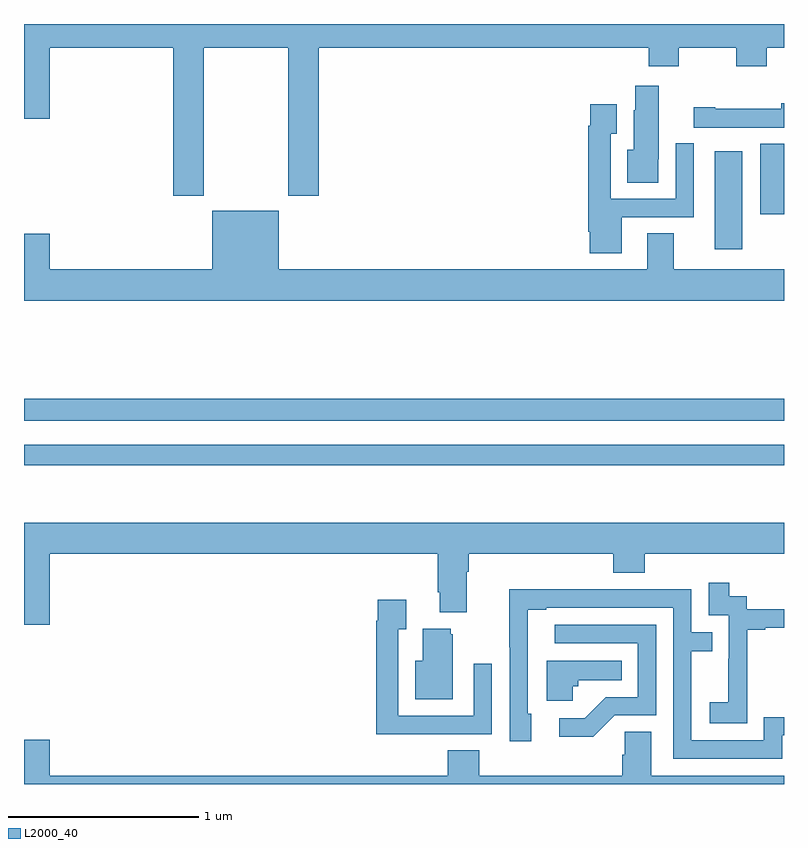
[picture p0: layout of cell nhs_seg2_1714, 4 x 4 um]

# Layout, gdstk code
import gdstk
lib = gdstk.Library(unit=1e-6, precision=1e-09)
def R(c, l, rs):  # rectangles x0, y0, x1, y1
    for r in rs: c.add(gdstk.rectangle(r[:2], r[2:], *l))
def P(c, l, *ps):  # polygons
    for p in ps: c.add(gdstk.Polygon(p, *l))
L2000_40 = (2000, 40)

nhs_seg2_1714 = lib.new_cell('nhs_seg2_1714')
R(nhs_seg2_1714, L2000_40, [(201,605.478,205,605.586), (201,605.712,205,605.828), (204.635,606.614,204.781,607.129), (204.875,606.798,205,607.169)])
P(nhs_seg2_1714, L2000_40, [(201.945,607.676),(202.39,607.676),(202.39,606.897),(202.55,606.897),(202.55,607.676),(204.287,607.676),(204.287,607.577),(204.447,607.577),(204.447,607.676),(204.748,607.676),(204.748,607.577),(204.908,607.577),(204.908,607.676),(205,607.676),(205,607.8),(201,607.8),(201,607.302),(201.136,607.302),(201.136,607.676),(201.785,607.676),(201.785,606.897),(201.945,606.897)],
  [(204.337,607.089),(204.34,607.089),(204.34,607.474),(204.218,607.474),(204.218,607.347),(204.209,607.347),(204.209,607.138),(204.176,607.138),(204.176,606.964),(204.337,606.964)],
  [(205,607.383),(204.986,607.383),(204.986,607.353),(204.637,607.353),(204.637,607.363),(204.525,607.363),(204.525,607.254),(205,607.254)],
  [(204.145,606.783),(204.525,606.783),(204.525,607.173),(204.429,607.173),(204.429,606.879),(204.087,606.879),(204.087,607.222),(204.121,607.222),(204.121,607.378),(203.979,607.378),(203.979,607.265),(203.971,607.265),(203.971,606.706),(203.978,606.706),(203.978,606.594),(204.145,606.594)],
  [(205,606.508),(204.421,606.508),(204.421,606.698),(204.281,606.698),(204.281,606.508),(202.342,606.508),(202.342,606.817),(201.992,606.817),(201.992,606.508),(201.136,606.508),(201.136,606.697),(201,606.697),(201,606.344),(205,606.344)],
  [(201,604.638),(201.136,604.638),(201.136,605.012),(203.177,605.012),(203.177,604.81),(203.189,604.81),(203.189,604.703),(203.329,604.703),(203.329,604.916),(203.342,604.916),(203.342,605.012),(204.101,605.012),(204.101,604.913),(204.266,604.913),(204.266,605.012),(205,605.012),(205,605.176),(201,605.176)],
  [(204.807,604.327),(204.806,604.327),(204.806,604.611),(204.901,604.611),(204.901,604.623),(205,604.623),(205,604.719),(204.804,604.719),(204.804,604.788),(204.712,604.788),(204.712,604.858),(204.603,604.858),(204.603,604.689),(204.708,604.689),(204.708,604.46),(204.707,604.46),(204.707,604.231),(204.609,604.231),(204.609,604.121),(204.807,604.121)],
  [(204.991,604.056),(205,604.056),(205,604.152),(204.894,604.152),(204.894,604.029),(204.513,604.029),(204.513,604.498),(204.623,604.498),(204.623,604.599),(204.513,604.599),(204.513,604.824),(204.017,604.824),(204.017,604.826),(203.554,604.826),(203.554,604.519),(203.556,604.519),(203.556,604.026),(203.671,604.026),(203.671,604.17),(203.652,604.17),(203.652,604.716),(203.749,604.716),(203.749,604.728),(204.417,604.728),(204.417,603.933),(204.991,603.933)],
  [(203.147,604.062),(203.463,604.062),(203.463,604.432),(203.367,604.432),(203.367,604.158),(202.971,604.158),(202.971,604.615),(203.011,604.615),(203.011,604.771),(202.863,604.771),(202.863,604.658),(202.855,604.658),(202.855,604.061),(203.147,604.061)],
  [(204.108,604.161),(204.327,604.161),(204.327,604.638),(203.793,604.638),(203.793,604.542),(204.231,604.542),(204.231,604.257),(204.062,604.257),(203.951,604.146),(203.817,604.146),(203.817,604.049),(203.995,604.049)],
  [(203.257,604.587),(203.246,604.587),(203.246,604.618),(203.099,604.618),(203.099,604.45),(203.06,604.45),(203.06,604.247),(203.257,604.247)],
  [(203.889,604.314),(203.916,604.314),(203.916,604.346),(204.146,604.346),(204.146,604.45),(203.75,604.45),(203.75,604.238),(203.889,604.238)],
  [(205,603.844),(204.301,603.844),(204.301,604.076),(204.162,604.076),(204.162,603.953),(204.149,603.953),(204.149,603.844),(203.396,603.844),(203.396,603.977),(203.231,603.977),(203.231,603.844),(201.136,603.844),(201.136,604.033),(201,604.033),(201,603.8),(205,603.8)])

lib.write_gds('nhs_seg2_1714.gds')
